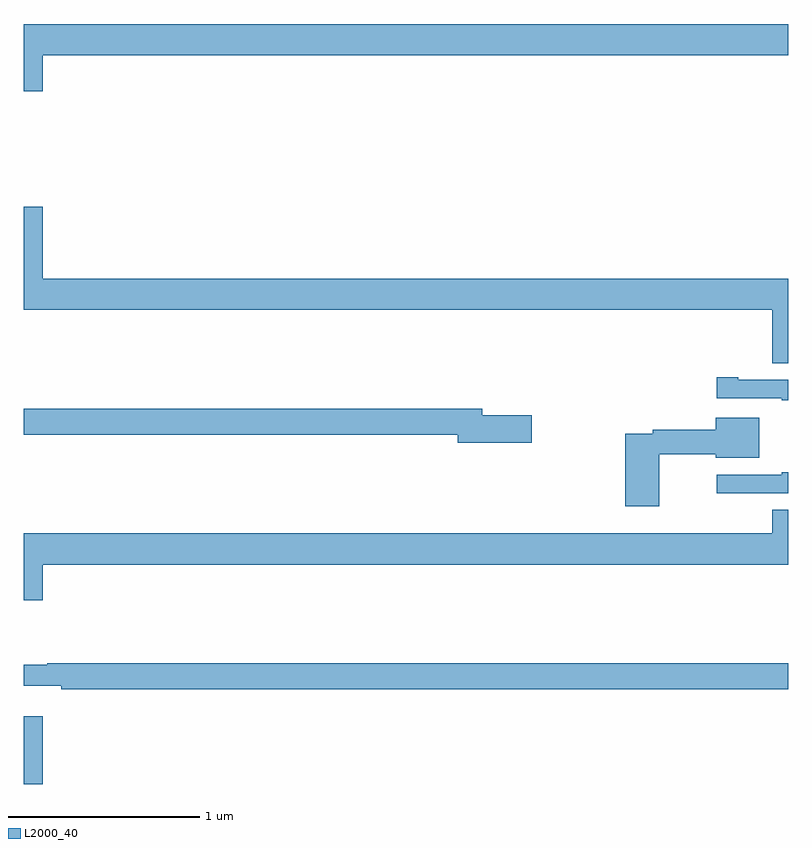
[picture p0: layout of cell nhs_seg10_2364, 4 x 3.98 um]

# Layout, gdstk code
import gdstk
lib = gdstk.Library(unit=1e-6, precision=1e-09)
def R(c, l, rs):  # rectangles x0, y0, x1, y1
    for r in rs: c.add(gdstk.rectangle(r[:2], r[2:], *l))
def P(c, l, *ps):  # polygons
    for p in ps: c.add(gdstk.Polygon(p, *l))
L2000_40 = (2000, 40)

nhs_seg10_2364 = lib.new_cell('nhs_seg10_2364')
R(nhs_seg10_2364, L2000_40, [(237,1300.5,237.1,1300.855)])
P(nhs_seg10_2364, L2000_40, [(237.1,1304.312),(241,1304.312),(241,1304.476),(237,1304.476),(237,1304.124),(237.1,1304.124)],
  [(241,1303.144),(237.1,1303.144),(237.1,1303.519),(237,1303.519),(237,1302.98),(240.917,1302.98),(240.917,1302.7),(241,1302.7)],
  [(241,1302.615),(240.739,1302.615),(240.739,1302.628),(240.627,1302.628),(240.627,1302.519),(240.965,1302.519),(240.965,1302.507),(241,1302.507)],
  [(239.659,1302.428),(239.398,1302.428),(239.398,1302.464),(237,1302.464),(237,1302.328),(239.27,1302.328),(239.27,1302.286),(239.659,1302.286)],
  [(240.324,1302.225),(240.62,1302.225),(240.62,1302.206),(240.847,1302.206),(240.847,1302.415),(240.62,1302.415),(240.62,1302.353),(240.292,1302.353),(240.292,1302.333),(240.146,1302.333),(240.146,1301.952),(240.324,1301.952)],
  [(241,1302.13),(240.965,1302.13),(240.965,1302.117),(240.627,1302.117),(240.627,1302.021),(241,1302.021)],
  [(237.1,1301.648),(241,1301.648),(241,1301.936),(240.917,1301.936),(240.917,1301.812),(237,1301.812),(237,1301.46),(237.1,1301.46)],
  [(241,1301.132),(237.124,1301.132),(237.124,1301.125),(237,1301.125),(237,1301.015),(237.196,1301.015),(237.196,1300.996),(241,1300.996)])

lib.write_gds('nhs_seg10_2364.gds')
